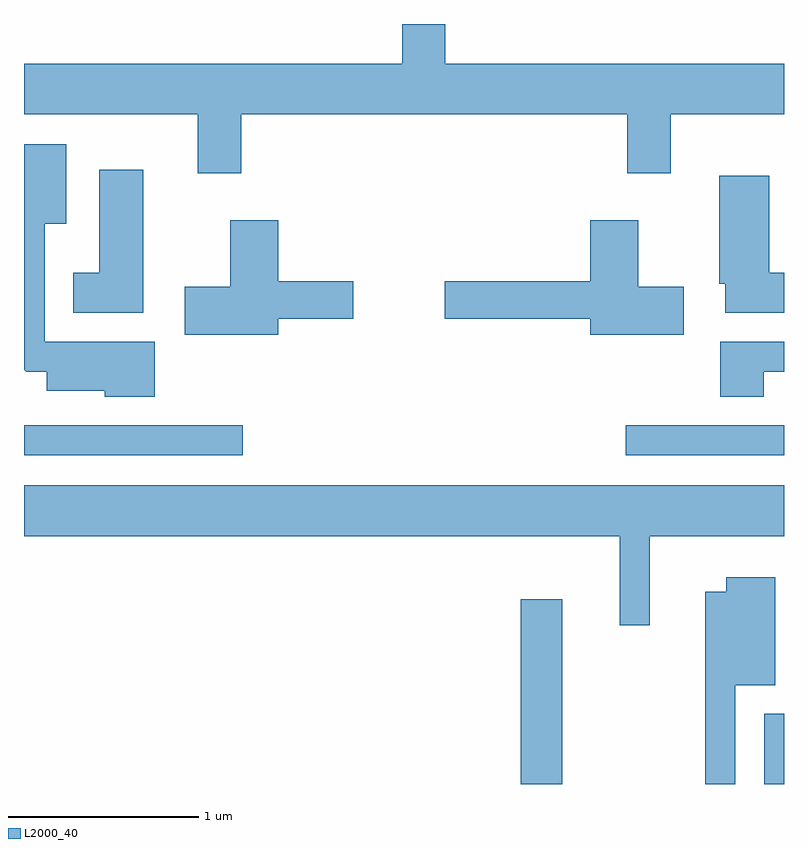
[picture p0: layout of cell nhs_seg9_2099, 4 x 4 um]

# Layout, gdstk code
import gdstk
lib = gdstk.Library(unit=1e-6, precision=1e-09)
def R(c, l, rs):  # rectangles x0, y0, x1, y1
    for r in rs: c.add(gdstk.rectangle(r[:2], r[2:], *l))
def P(c, l, *ps):  # polygons
    for p in ps: c.add(gdstk.Polygon(p, *l))
L2000_40 = (2000, 40)

nhs_seg9_2099 = lib.new_cell('nhs_seg9_2099')
R(nhs_seg9_2099, L2000_40, [(248.226,2070.432,248.444,2071.404), (249.506,2070.432,249.611,2070.803), (245.611,2072.161,246.763,2072.319), (248.778,2072.161,249.611,2072.319)])
P(nhs_seg9_2099, L2000_40, [(246.754,2073.956),(248.786,2073.956),(248.786,2073.646),(249.014,2073.646),(249.014,2073.956),(249.611,2073.956),(249.611,2074.224),(247.829,2074.224),(247.829,2074.432),(247.601,2074.432),(247.601,2074.224),(245.611,2074.224),(245.611,2073.956),(246.526,2073.956),(246.526,2073.646),(246.754,2073.646)],
  [(246.299,2072.759),(245.719,2072.759),(245.719,2073.381),(245.834,2073.381),(245.834,2073.799),(245.611,2073.799),(245.611,2072.612),(245.622,2072.601),(245.731,2072.601),(245.731,2072.501),(246.036,2072.501),(246.036,2072.471),(246.299,2072.471)],
  [(246.239,2073.664),(246.006,2073.664),(246.006,2073.124),(245.871,2073.124),(245.871,2072.911),(246.239,2072.911)],
  [(249.611,2073.124),(249.534,2073.124),(249.534,2073.634),(249.271,2073.634),(249.271,2073.066),(249.301,2073.066),(249.301,2072.911),(249.611,2072.911)],
  [(249.084,2073.049),(248.844,2073.049),(248.844,2073.399),(248.591,2073.399),(248.591,2073.079),(247.826,2073.079),(247.826,2072.881),(248.591,2072.881),(248.591,2072.796),(249.084,2072.796)],
  [(246.949,2072.881),(247.344,2072.881),(247.344,2073.079),(246.949,2073.079),(246.949,2073.399),(246.696,2073.399),(246.696,2073.049),(246.456,2073.049),(246.456,2072.796),(246.949,2072.796)],
  [(249.504,2072.601),(249.611,2072.601),(249.611,2072.759),(249.276,2072.759),(249.276,2072.471),(249.504,2072.471)],
  [(248.904,2071.736),(249.611,2071.736),(249.611,2072.004),(245.611,2072.004),(245.611,2071.736),(248.746,2071.736),(248.746,2071.268),(248.904,2071.268)],
  [(249.354,2070.951),(249.564,2070.951),(249.564,2071.519),(249.306,2071.519),(249.306,2071.444),(249.196,2071.444),(249.196,2070.432),(249.354,2070.432)])

lib.write_gds('nhs_seg9_2099.gds')
